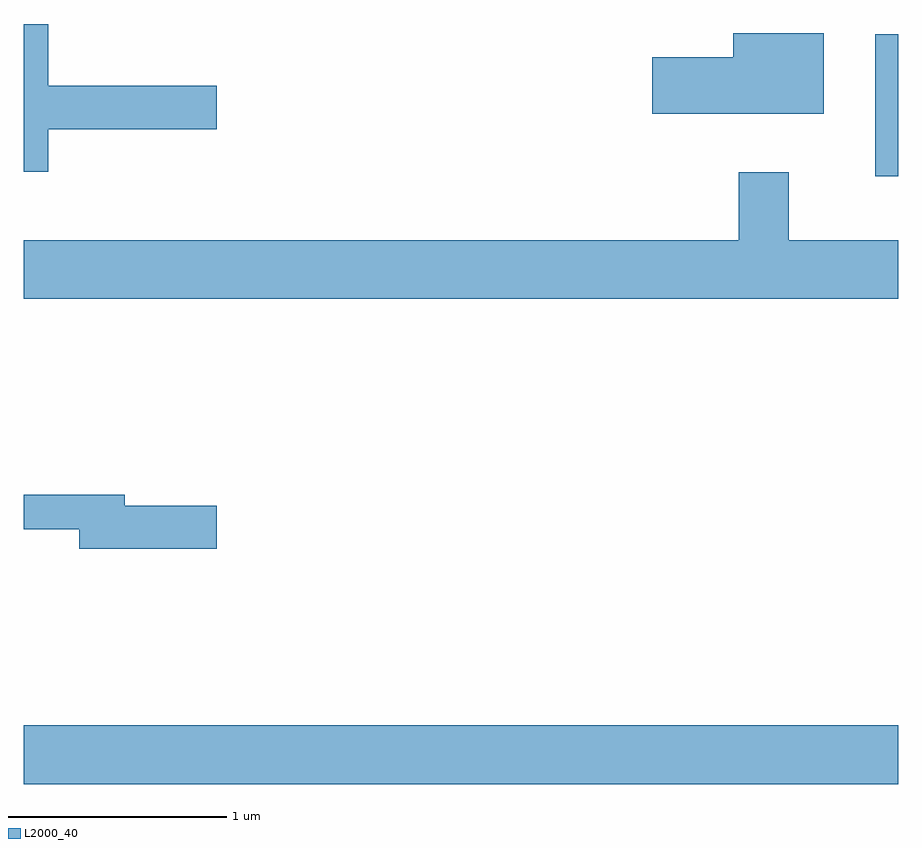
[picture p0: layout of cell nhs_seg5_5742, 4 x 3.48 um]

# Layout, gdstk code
import gdstk
lib = gdstk.Library(unit=1e-6, precision=1e-09)
def R(c, l, rs):  # rectangles x0, y0, x1, y1
    for r in rs: c.add(gdstk.rectangle(r[:2], r[2:], *l))
def P(c, l, *ps):  # polygons
    for p in ps: c.add(gdstk.Polygon(p, *l))
L2000_40 = (2000, 40)

nhs_seg5_5742 = lib.new_cell('nhs_seg5_5742')
R(nhs_seg5_5742, L2000_40, [(355.611,1434.596,359.611,1434.864), (359.506,1437.376,359.611,1438.024)])
P(nhs_seg5_5742, L2000_40, [(355.724,1437.591),(356.494,1437.591),(356.494,1437.789),(355.724,1437.789),(355.724,1438.072),(355.611,1438.072),(355.611,1437.396),(355.724,1437.396)],
  [(359.269,1438.029),(358.856,1438.029),(358.856,1437.919),(358.486,1437.919),(358.486,1437.661),(359.269,1437.661)],
  [(359.611,1437.084),(359.109,1437.084),(359.109,1437.394),(358.881,1437.394),(358.881,1437.084),(355.611,1437.084),(355.611,1436.816),(359.611,1436.816)],
  [(356.494,1435.869),(356.074,1435.869),(356.074,1435.919),(355.611,1435.919),(355.611,1435.761),(355.866,1435.761),(355.866,1435.671),(356.494,1435.671)])

lib.write_gds('nhs_seg5_5742.gds')
